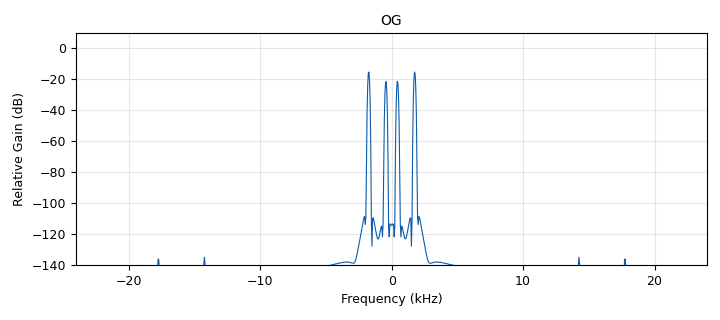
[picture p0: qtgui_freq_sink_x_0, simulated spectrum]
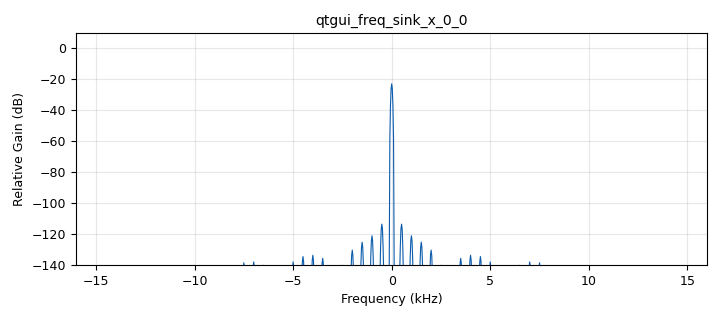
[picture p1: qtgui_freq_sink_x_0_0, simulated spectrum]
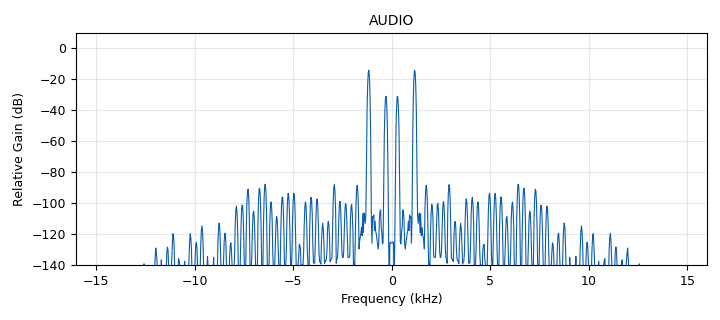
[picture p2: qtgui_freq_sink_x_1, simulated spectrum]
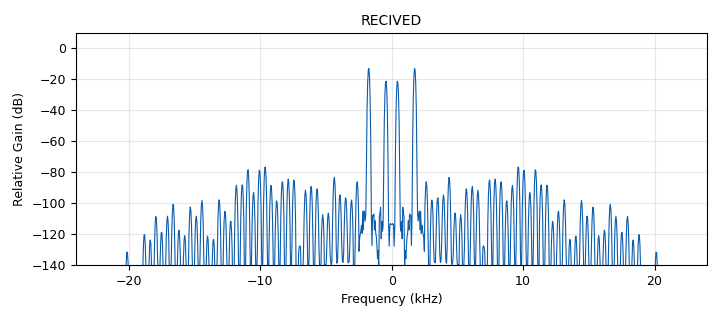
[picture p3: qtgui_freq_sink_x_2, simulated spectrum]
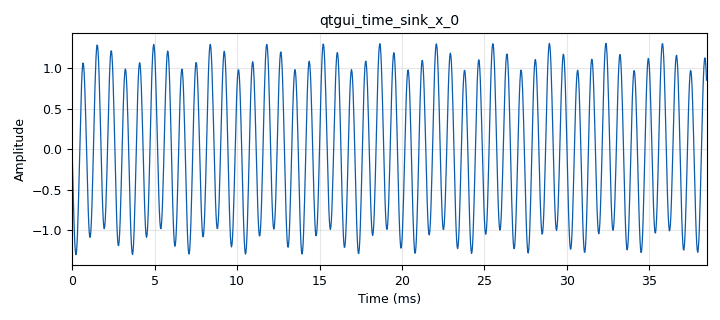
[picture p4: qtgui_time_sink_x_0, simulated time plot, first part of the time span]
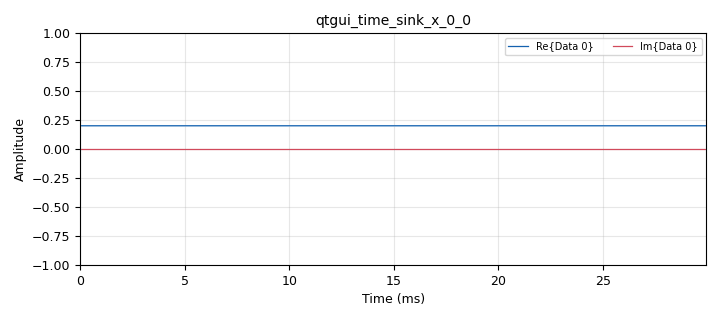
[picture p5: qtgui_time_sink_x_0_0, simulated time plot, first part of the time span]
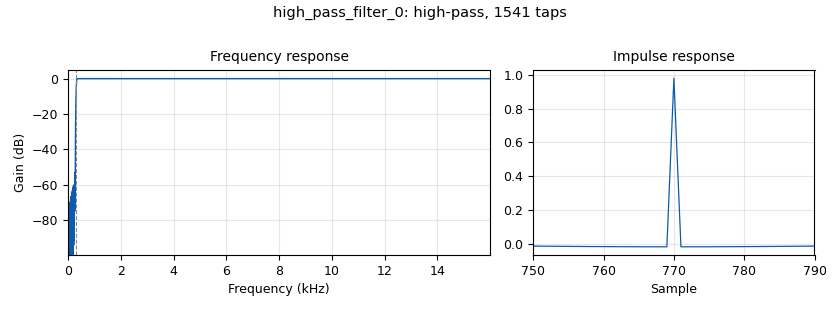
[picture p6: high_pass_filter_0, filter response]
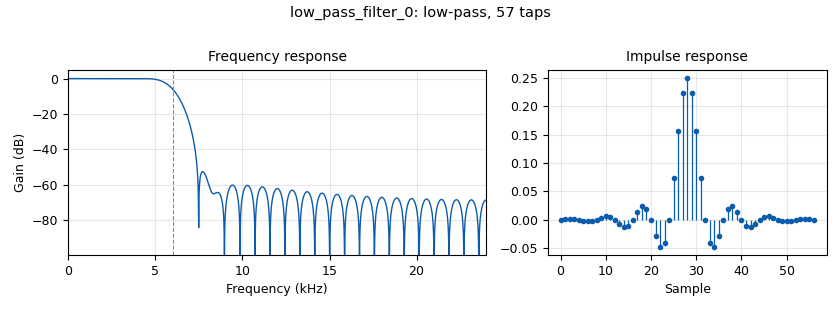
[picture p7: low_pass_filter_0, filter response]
options:
  parameters:
    author: kawakey
    generate_options: qt_gui
    generator_class_name: PythonQtGuiGenerator
    generator_module: gnuradio.grc.workflows.python_qt_gui
    id: integration_all_audio
    output_language: python
    title: Not titled yet
  states: {}

blocks:
- name: audio_amp
  id: variable_qtgui_range
  parameters:
    start: '0'
    step: '0.01'
    stop: '1'
    value: '0.5'
  states: {}
- name: audio_rate
  id: variable
  parameters:
    value: '48000'
  states: {}
- name: control_amp
  id: variable_qtgui_range
  parameters:
    start: '0'
    step: '0.01'
    stop: '1'
    value: '1'
  states: {}
- name: ctss_amp
  id: variable_qtgui_range
  parameters:
    start: '0'
    step: '0.01'
    stop: '1'
    value: '0'
  states: {}
- name: fsk_deviation_hz
  id: variable
  parameters:
    value: '5000'
  states: {}
- name: iq_rate
  id: variable
  parameters:
    value: '192000'
  states: {}
- name: mod_selector
  id: variable_qtgui_chooser
  parameters:
    label0: NBFM
    label1: AM
    num_opts: '2'
    option0: '0'
    option1: '1'
    type: int
    value: '0'
  states: {}
- name: noise_amp
  id: variable_qtgui_range
  parameters:
    start: '0'
    step: '0.01'
    stop: '1'
    value: '0'
  states: {}
- name: samp_rate
  id: variable
  parameters:
    value: '32000'
  states: {}
- name: sim_power
  id: variable_qtgui_chooser
  parameters:
    label: Symulacja Tonu 1750Hz
    label0: Cisza
    label1: PIK!
    num_opts: '2'
    option0: '0'
    option1: '1'
    type: real
    value: '0'
    widget: radio_buttons
  states: {}
- name: analog_const_source_x_0
  id: analog_const_source_x
  parameters:
    const: '0'
    type: float
  states: {}
- name: analog_const_source_x_0_0
  id: analog_const_source_x
  parameters:
    const: sim_power
    type: float
  states: {}
- name: analog_const_source_x_0_0_0
  id: analog_const_source_x
  parameters:
    const: '0'
    type: float
  states: {}
- name: analog_ctcss_squelch_ff_0
  id: analog_ctcss_squelch_ff
  parameters:
    freq: '123'
    gate: 'False'
    len: '0'
    level: '0.01'
    ramp: '0'
    rate: audio_rate
  states: {}
- name: analog_fm_deemph_0
  id: analog_fm_deemph
  parameters:
    samp_rate: samp_rate
    tau: '75e-6'
  states: {}
- name: analog_nbfm_tx_0
  id: analog_nbfm_tx
  parameters:
    audio_rate: audio_rate
    fh: '-1.0'
    max_dev: fsk_deviation_hz
    quad_rate: iq_rate
    tau: '75e-6'
  states: {}
- name: analog_nbfm_tx_0_0
  id: analog_nbfm_tx
  parameters:
    audio_rate: '32000'
    fh: '-1.0'
    max_dev: 5e3
    quad_rate: '32000'
    tau: '75e-6'
  states: {}
- name: analog_noise_source_x_0
  id: analog_noise_source_x
  parameters:
    amp: noise_amp
    noise_type: analog.GR_GAUSSIAN
    seed: '0'
    type: complex
  states: {}
- name: analog_quadrature_demod_cf_0
  id: analog_quadrature_demod_cf
  parameters:
    gain: iq_rate/(2*math.pi*fsk_deviation_hz)
  states: {}
- name: analog_sig_source_x_0
  id: analog_sig_source_x
  parameters:
    amp: ctss_amp
    freq: '123'
    offset: '0'
    phase: '0'
    samp_rate: audio_rate
    type: float
    waveform: analog.GR_COS_WAVE
  states: {}
- name: analog_sig_source_x_1
  id: analog_sig_source_x
  parameters:
    amp: audio_amp
    freq: '440'
    offset: '0'
    phase: '0'
    samp_rate: audio_rate
    type: float
    waveform: analog.GR_COS_WAVE
  states: {}
- name: analog_sig_source_x_2
  id: analog_sig_source_x
  parameters:
    amp: control_amp
    freq: '1750'
    offset: '0'
    phase: '0'
    samp_rate: audio_rate
    type: float
    waveform: analog.GR_COS_WAVE
  states: {}
- name: audio_sink_0
  id: audio_sink
  parameters:
    samp_rate: '48000'
  states: {state: disabled}
- name: blocks_add_const_vxx_0
  id: blocks_add_const_vxx
  parameters:
    const: '1'
    type: float
  states: {}
- name: blocks_add_xx_0
  id: blocks_add_xx
  parameters:
    num_inputs: '3'
    type: float
  states: {}
- name: blocks_add_xx_2
  id: blocks_add_xx
  parameters:
    type: complex
  states: {}
- name: blocks_float_to_complex_0
  id: blocks_float_to_complex
  parameters: {}
  states: {}
- name: blocks_float_to_complex_1
  id: blocks_float_to_complex
  parameters: {}
  states: {}
- name: blocks_multiply_xx_0
  id: blocks_multiply_xx
  parameters:
    type: complex
  states: {}
- name: blocks_rms_xx_0
  id: blocks_rms_xx
  parameters:
    alpha: '0.0001'
    type: float
  states: {}
- name: blocks_selector_0
  id: blocks_selector
  parameters:
    enabled: 'True'
    input_index: mod_selector
    num_inputs: '2'
    num_outputs: '1'
    output_index: '0'
    type: complex
  states: {}
- name: blocks_threshold_ff_0_0
  id: blocks_threshold_ff
  parameters:
    high: '0.1'
    init: '0'
    low: '0.05'
  states: {}
- name: blocks_throttle2_0
  id: blocks_throttle2
  parameters:
    samples_per_second: iq_rate
    type: complex
  states: {}
- name: epy_block_0
  id: epy_block
  parameters:
    _source_code: |-
      import numpy as np
      from gnuradio import gr

      class repeater_control(gr.sync_block):
          """
          Logika sterująca przemiennikiem:
          - Wejście 0: Surowe Audio (zdemodulowane)
          - Wejście 1: Detekcja CTCSS (sygnał 0.0 lub 1.0)
          - Wejście 2: Detekcja Tonu Mocy (sygnał 0.0 lub 1.0)
          
          - Wyjście 0: Audio Bramkowane (idzie do nadajnika)
          - Wyjście 1: Poziom Mocy (mnożnik dla bloku Multiply)
          """

          def __init__(self, sample_rate=48000, cooldown_seconds=2.0):
              gr.sync_block.__init__(
                  self,
                  name='Repeater Logic Controller',   
                  in_sig=[np.float32, np.float32, np.float32],
                  out_sig=[np.float32, np.float32]
              )
              
              self.sample_rate = sample_rate
              self.cooldown_samples = int(sample_rate * cooldown_seconds)
              
              self.current_gain = 0.2  # Domyślna moc
              self.high_gain = 1.0     # Maksymalna moc
              self.low_gain = 0.2      # Minimalna moc
              
              self.timer = 0           # Licznik czasu do debouncingu przełączania mocy

          def work(self, input_items, output_items):
              audio_in = input_items[0]
              ctcss_signal = input_items[1]
              power_cmd_signal = input_items[2]
              
              audio_out = output_items[0]
              gain_out = output_items[1]
              
              squelch_mask = (ctcss_signal > 0.5).astype(np.float32)
              
              audio_out[:] = audio_in * squelch_mask
              
              tone_detected = np.max(power_cmd_signal) > 0.5
              
              if self.timer > 0:
                  self.timer -= len(audio_in)
              
              if tone_detected and self.timer <= 0:
                  if self.current_gain == self.low_gain:
                      self.current_gain = self.high_gain
                  else:
                      self.current_gain = self.low_gain
                  
                  self.timer = self.cooldown_samples
                  
              gain_out[:] = self.current_gain
              
              return len(output_items[0])
    cooldown_seconds: '1.0'
    sample_rate: samp_rate
  states: {}
- name: high_pass_filter_0
  id: high_pass_filter
  parameters:
    cutoff_freq: '300'
    decim: '1'
    gain: '1'
    samp_rate: samp_rate
    type: fir_filter_fff
    width: '50'
    win: window.WIN_HAMMING
  states: {}
- name: low_pass_filter_0
  id: low_pass_filter
  parameters:
    cutoff_freq: 6e3
    decim: '1'
    gain: '1'
    samp_rate: audio_rate
    type: fir_filter_ccf
    width: 2e3
    win: window.WIN_HAMMING
  states: {}
- name: low_pass_filter_1
  id: low_pass_filter
  parameters:
    cutoff_freq: '260'
    decim: '1'
    gain: '1'
    samp_rate: samp_rate
    type: fir_filter_fff
    width: '50'
    win: window.WIN_HAMMING
  states: {}
- name: note_0
  id: note
  parameters:
    note: not used right now
  states: {}
- name: note_1_0
  id: note
  parameters:
    note: Logik python
  states: {}
- name: note_1_0_0
  id: note
  parameters:
    note: symulacja tonu 1750 Hz
  states: {}
- name: qtgui_freq_sink_x_0
  id: qtgui_freq_sink_x
  parameters:
    bw: audio_rate
    fc: '0'
    fftsize: '1024'
    name: '"OG"'
    type: float
  states: {}
- name: qtgui_freq_sink_x_0_0
  id: qtgui_freq_sink_x
  parameters:
    bw: samp_rate
    fc: '0'
    fftsize: '1024'
    type: complex
  states: {}
- name: qtgui_freq_sink_x_1
  id: qtgui_freq_sink_x
  parameters:
    bw: samp_rate
    fc: '0'
    fftsize: '1024'
    name: '"AUDIO"'
    type: float
  states: {}
- name: qtgui_freq_sink_x_2
  id: qtgui_freq_sink_x
  parameters:
    bw: audio_rate
    fc: '0'
    fftsize: '1024'
    name: '"RECIVED"'
    type: float
  states: {}
- name: qtgui_freq_sink_x_4
  id: qtgui_freq_sink_x
  parameters:
    bw: samp_rate
    fc: '0'
    fftsize: '1024'
    type: float
  states: {state: disabled}
- name: qtgui_number_sink_0
  id: qtgui_number_sink
  parameters:
    graph_type: qtgui.NUM_GRAPH_HORIZ
    name: '"CTCSS"'
    type: float
  states: {}
- name: qtgui_time_sink_x_0
  id: qtgui_time_sink_x
  parameters:
    autoscale: 'True'
    size: '4000'
    srate: samp_rate
    type: float
  states: {}
- name: qtgui_time_sink_x_0_0
  id: qtgui_time_sink_x
  parameters:
    size: '64000'
    srate: samp_rate
    type: complex
  states: {}
- name: rational_resampler_xxx_0
  id: rational_resampler_xxx
  parameters:
    decim: '4'
    interp: '1'
    type: fff
  states: {}
- name: rational_resampler_xxx_0_0
  id: rational_resampler_xxx
  parameters:
    decim: '1'
    interp: '64'
    type: ccc
  states: {}

connections:
- [analog_const_source_x_0, '0', blocks_float_to_complex_0, '1']
- [analog_const_source_x_0_0, '0', epy_block_0, '2']
- [analog_const_source_x_0_0_0, '0', blocks_float_to_complex_1, '1']
- [analog_ctcss_squelch_ff_0, '0', blocks_rms_xx_0, '0']
- [analog_ctcss_squelch_ff_0, '0', qtgui_freq_sink_x_4, '0']
- [analog_fm_deemph_0, '0', epy_block_0, '0']
- [analog_fm_deemph_0, '0', qtgui_freq_sink_x_1, '0']
- [analog_fm_deemph_0, '0', qtgui_time_sink_x_0, '0']
- [analog_nbfm_tx_0, '0', blocks_throttle2_0, '0']
- [analog_nbfm_tx_0_0, '0', blocks_selector_0, '0']
- [analog_noise_source_x_0, '0', blocks_add_xx_2, '0']
- [analog_quadrature_demod_cf_0, '0', rational_resampler_xxx_0, '0']
- [analog_sig_source_x_0, '0', blocks_add_xx_0, '0']
- [analog_sig_source_x_1, '0', blocks_add_xx_0, '1']
- [analog_sig_source_x_2, '0', blocks_add_xx_0, '2']
- [blocks_add_const_vxx_0, '0', blocks_float_to_complex_0, '0']
- [blocks_add_xx_0, '0', analog_nbfm_tx_0, '0']
- [blocks_add_xx_0, '0', audio_sink_0, '0']
- [blocks_add_xx_0, '0', qtgui_freq_sink_x_0, '0']
- [blocks_add_xx_2, '0', low_pass_filter_0, '0']
- [blocks_float_to_complex_0, '0', blocks_selector_0, '1']
- [blocks_float_to_complex_1, '0', blocks_multiply_xx_0, '1']
- [blocks_multiply_xx_0, '0', rational_resampler_xxx_0_0, '0']
- [blocks_rms_xx_0, '0', blocks_threshold_ff_0_0, '0']
- [blocks_selector_0, '0', blocks_multiply_xx_0, '0']
- [blocks_threshold_ff_0_0, '0', epy_block_0, '1']
- [blocks_threshold_ff_0_0, '0', qtgui_number_sink_0, '0']
- [blocks_throttle2_0, '0', blocks_add_xx_2, '1']
- [epy_block_0, '0', analog_nbfm_tx_0_0, '0']
- [epy_block_0, '0', blocks_add_const_vxx_0, '0']
- [epy_block_0, '1', blocks_float_to_complex_1, '0']
- [high_pass_filter_0, '0', analog_fm_deemph_0, '0']
- [low_pass_filter_0, '0', analog_quadrature_demod_cf_0, '0']
- [low_pass_filter_1, '0', analog_ctcss_squelch_ff_0, '0']
- [rational_resampler_xxx_0, '0', high_pass_filter_0, '0']
- [rational_resampler_xxx_0, '0', low_pass_filter_1, '0']
- [rational_resampler_xxx_0, '0', qtgui_freq_sink_x_2, '0']
- [rational_resampler_xxx_0_0, '0', qtgui_freq_sink_x_0_0, '0']
- [rational_resampler_xxx_0_0, '0', qtgui_time_sink_x_0_0, '0']

metadata:
  file_format: 1
  grc_version: 3.10.12.0
